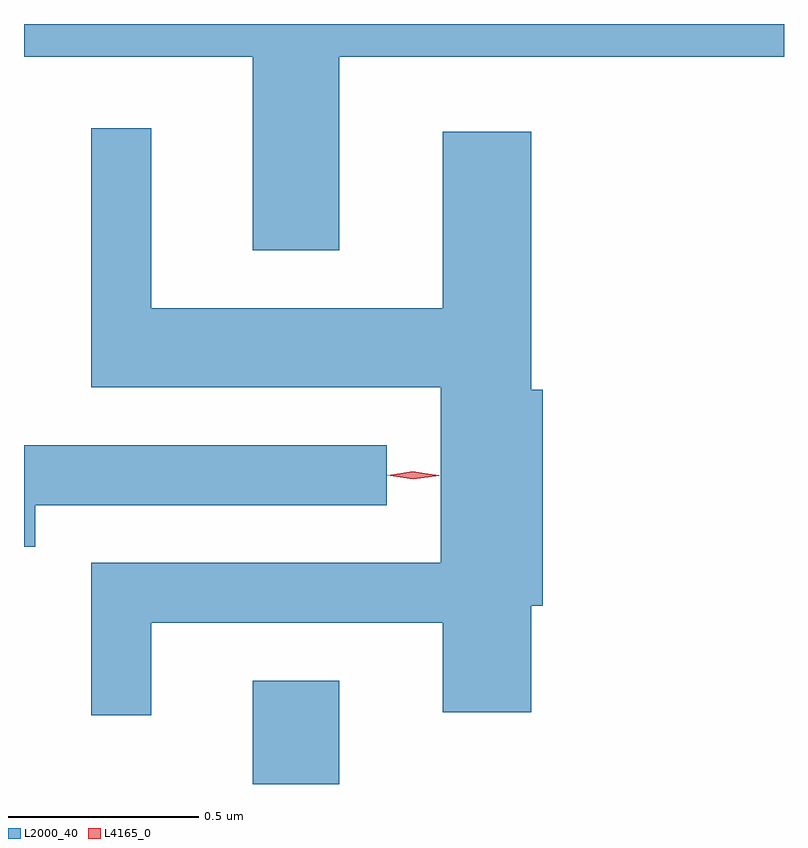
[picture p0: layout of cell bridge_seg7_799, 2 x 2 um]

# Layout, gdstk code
import gdstk
lib = gdstk.Library(unit=1e-6, precision=1e-09)
def R(c, l, rs):  # rectangles x0, y0, x1, y1
    for r in rs: c.add(gdstk.rectangle(r[:2], r[2:], *l))
def P(c, l, *ps):  # polygons
    for p in ps: c.add(gdstk.Polygon(p, *l))
L2000_40 = (2000, 40)
L4165_0 = (4165, 0)

bridge_seg7_799 = lib.new_cell('bridge_seg7_799')
R(bridge_seg7_799, L2000_40, [(265.821,1801.202,266.049,1801.474)])
P(bridge_seg7_799, L2000_40, [(266.049,1803.116),(267.219,1803.116),(267.219,1803.202),(265.219,1803.202),(265.219,1803.116),(265.821,1803.116),(265.821,1802.606),(266.049,1802.606)],
  [(265.554,1801.626),(266.321,1801.626),(266.321,1801.391),(266.554,1801.391),(266.554,1801.671),(266.584,1801.671),(266.584,1802.239),(266.554,1802.239),(266.554,1802.919),(266.321,1802.919),(266.321,1802.454),(265.554,1802.454),(265.554,1802.928),(265.396,1802.928),(265.396,1802.246),(266.316,1802.246),(266.316,1801.784),(265.396,1801.784),(265.396,1801.383),(265.554,1801.383)],
  [(265.249,1801.936),(266.173,1801.936),(266.173,1802.094),(265.219,1802.094),(265.219,1801.826),(265.249,1801.826)])
P(bridge_seg7_799, L4165_0, [(266.243,1802.004),(266.174,1802.014),(266.174,1802.014),(266.174,1802.015),(266.243,1802.024),(266.312,1802.014),(266.312,1802.014),(266.312,1802.013)],
  [(266.242,1802.005),(266.178,1802.014),(266.177,1802.015),(266.178,1802.015),(266.242,1802.025),(266.307,1802.015),(266.307,1802.015),(266.307,1802.014)])

lib.write_gds('bridge_seg7_799.gds')
